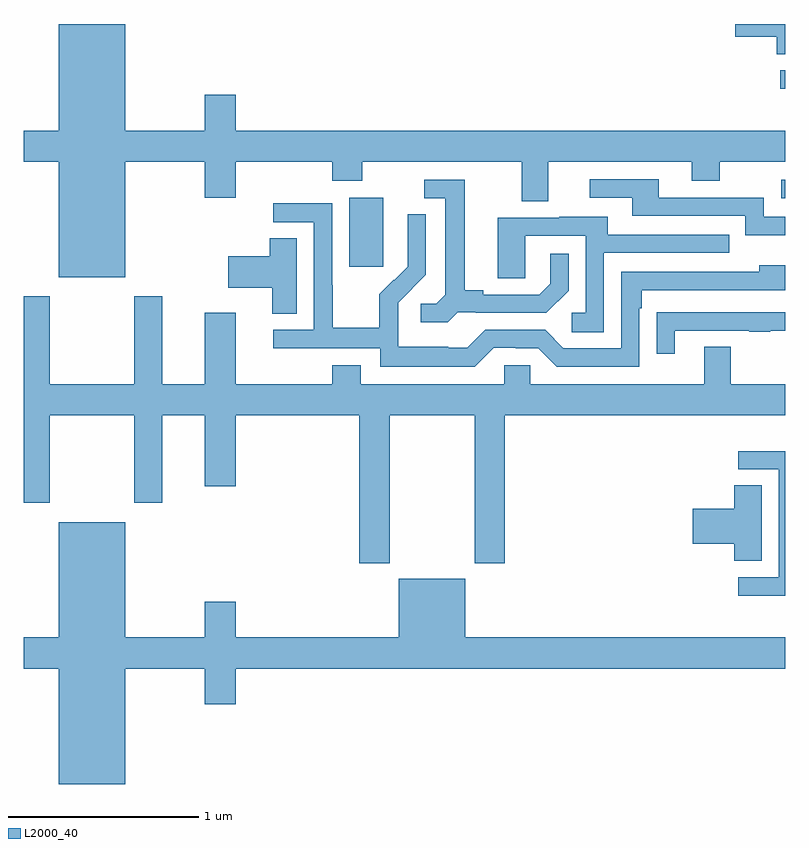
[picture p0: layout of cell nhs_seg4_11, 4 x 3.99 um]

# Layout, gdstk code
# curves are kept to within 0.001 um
import gdstk
lib = gdstk.Library(unit=1e-6, precision=1e-09)
def R(c, l, rs):  # rectangles x0, y0, x1, y1
    for r in rs: c.add(gdstk.rectangle(r[:2], r[2:], *l))
def P(c, l, *ps):  # polygons
    for p in ps: c.add(gdstk.Polygon(p, *l))
L2000_40 = (2000, 40)

nhs_seg4_11 = lib.new_cell('nhs_seg4_11')
R(nhs_seg4_11, L2000_40, [(112.709,773.625,112.888,773.986), (114.981,773.985,115,774.081), (114.975,774.559,115,774.657)])
P(nhs_seg4_11, L2000_40, [(111.532,774.176),(111.95,774.176),(111.95,773.988),(112.114,773.988),(112.114,774.176),(112.619,774.176),(112.619,774.077),(112.779,774.077),(112.779,774.176),(113.615,774.176),(113.615,773.968),(113.755,773.968),(113.755,774.176),(114.509,774.176),(114.509,774.077),(114.657,774.077),(114.657,774.176),(115,774.176),(115,774.34),(112.114,774.34),(112.114,774.529),(111.95,774.529),(111.95,774.34),(111.532,774.34),(111.532,774.9),(111.182,774.9),(111.182,774.34),(111,774.34),(111,774.176),(111.182,774.176),(111.182,773.57),(111.532,773.57)],
  [(115,774.9),(114.738,774.9),(114.738,774.833),(114.956,774.833),(114.956,774.742),(115,774.742)],
  [(115,773.886),(114.888,773.886),(114.888,773.988),(114.337,773.988),(114.337,774.084),(113.973,774.084),(113.973,773.988),(114.197,773.988),(114.197,773.892),(114.792,773.892),(114.792,773.789),(115,773.789)],
  [(113.28,773.385),(113.374,773.385),(113.374,773.382),(113.746,773.382),(113.862,773.498),(113.862,773.692),(113.765,773.692),(113.765,773.535),(113.708,773.478),(113.413,773.478),(113.413,773.501),(113.317,773.501),(113.317,774.081),(113.103,774.081),(113.103,773.985),(113.213,773.985),(113.213,773.477),(113.166,773.43),(113.085,773.43),(113.085,773.333),(113.228,773.333)],
  [(113.469,773.199),(113.585,773.199),(113.585,773.196),(113.703,773.196),(113.799,773.1),(114.234,773.1),(114.234,773.405),(114.247,773.405),(114.247,773.502),(115,773.502),(115,773.632),(114.863,773.632),(114.863,773.598),(114.138,773.598),(114.138,773.196),(113.835,773.196),(113.739,773.292),(113.424,773.292),(113.331,773.199),(113.231,773.199),(113.231,773.203),(112.968,773.203),(112.968,773.337),(112.966,773.337),(112.966,773.434),(113.112,773.582),(113.112,773.9),(113.016,773.9),(113.016,773.746),(113.018,773.746),(113.018,773.624),(112.947,773.553),(112.944,773.556),(112.867,773.479),(112.867,773.305),(112.623,773.305),(112.623,773.528),(112.62,773.528),(112.62,773.958),(112.311,773.958),(112.311,773.859),(112.524,773.859),(112.524,773.292),(112.311,773.292),(112.311,773.196),(112.872,773.196),(112.872,773.099),(113.369,773.099)],
  [(114.048,773.697),(114.707,773.697),(114.707,773.793),(114.067,773.793),(114.067,773.887),(113.813,773.887),(113.813,773.883),(113.489,773.883),(113.489,773.563),(113.634,773.563),(113.634,773.787),(113.952,773.787),(113.952,773.382),(113.88,773.382),(113.88,773.281),(114.048,773.281)],
  [(112.435,773.774),(112.292,773.774),(112.292,773.679),(112.074,773.679),(112.074,773.513),(112.304,773.513),(112.304,773.377),(112.435,773.377)],
  [(112.923,772.844),(113.368,772.844),(113.368,772.065),(113.528,772.065),(113.528,772.844),(115,772.844),(115,773.008),(114.715,773.008),(114.715,773.203),(114.575,773.203),(114.575,773.008),(113.661,773.008),(113.661,773.106),(113.523,773.106),(113.523,773.008),(112.771,773.008),(112.771,773.107),(112.619,773.107),(112.619,773.008),(112.114,773.008),(112.114,773.383),(111.95,773.383),(111.95,773.008),(111.727,773.008),(111.727,773.47),(111.58,773.47),(111.58,773.008),(111.135,773.008),(111.135,773.47),(111,773.47),(111,772.383),(111.135,772.383),(111.135,772.844),(111.58,772.844),(111.58,772.383),(111.727,772.383),(111.727,772.844),(111.95,772.844),(111.95,772.47),(112.114,772.47),(112.114,772.844),(112.763,772.844),(112.763,772.065),(112.923,772.065)],
  [(114.421,773.289),(114.811,773.289),(114.811,773.284),(114.923,773.284),(114.923,773.289),(115,773.289),(115,773.385),(114.427,773.385),(114.427,773.384),(114.325,773.384),(114.325,773.166),(114.421,773.166)],
  [(115,772.656),(114.753,772.656),(114.753,772.56),(114.966,772.56),(114.966,771.993),(114.753,771.993),(114.753,771.895),(115,771.895)],
  [(114.877,772.475),(114.734,772.475),(114.734,772.352),(114.516,772.352),(114.516,772.169),(114.734,772.169),(114.734,772.078),(114.877,772.078)],
  [(111.532,771.512),(111.95,771.512),(111.95,771.324),(112.114,771.324),(112.114,771.512),(115,771.512),(115,771.676),(113.32,771.676),(113.32,771.985),(112.97,771.985),(112.97,771.676),(112.114,771.676),(112.114,771.865),(111.95,771.865),(111.95,771.676),(111.532,771.676),(111.532,772.282),(111.182,772.282),(111.182,771.676),(111,771.676),(111,771.512),(111.182,771.512),(111.182,770.906),(111.532,770.906)])

lib.write_gds('nhs_seg4_11.gds')
